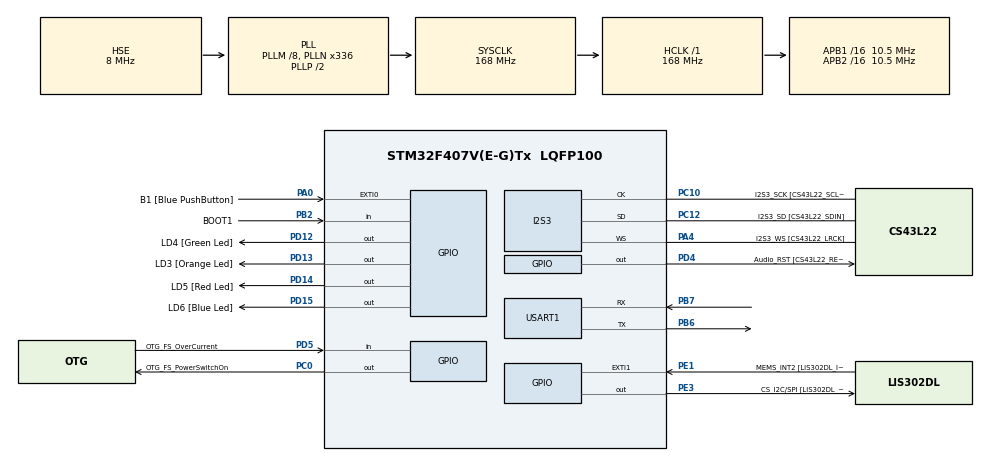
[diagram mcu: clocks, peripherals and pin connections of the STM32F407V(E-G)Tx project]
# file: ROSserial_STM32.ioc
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Dma.Request0=USART1_RX
Dma.Request1=USART1_TX
Dma.USART1_RX.0.Direction=DMA_PERIPH_TO_MEMORY
Dma.USART1_RX.0.FIFOMode=DMA_FIFOMODE_DISABLE
Dma.USART1_RX.0.Instance=DMA2_Stream2
Dma.USART1_RX.0.MemDataAlignment=DMA_MDATAALIGN_BYTE
Dma.USART1_RX.0.MemInc=DMA_MINC_ENABLE
Dma.USART1_RX.0.Mode=DMA_NORMAL
Dma.USART1_RX.0.PeriphDataAlignment=DMA_PDATAALIGN_BYTE
Dma.USART1_RX.0.PeriphInc=DMA_PINC_DISABLE
Dma.USART1_RX.0.Priority=DMA_PRIORITY_HIGH
Dma.USART1_TX.1.Direction=DMA_MEMORY_TO_PERIPH
Dma.USART1_TX.1.FIFOMode=DMA_FIFOMODE_DISABLE
Dma.USART1_TX.1.Instance=DMA2_Stream7
Dma.USART1_TX.1.MemDataAlignment=DMA_MDATAALIGN_BYTE
Dma.USART1_TX.1.MemInc=DMA_MINC_ENABLE
Dma.USART1_TX.1.Mode=DMA_NORMAL
Dma.USART1_TX.1.PeriphDataAlignment=DMA_PDATAALIGN_BYTE
Dma.USART1_TX.1.PeriphInc=DMA_PINC_DISABLE
Dma.USART1_TX.1.Priority=DMA_PRIORITY_HIGH
I2S3.ErrorAudioFreq=0.0 %
I2S3.FullDuplexMode=I2S_FULLDUPLEXMODE_DISABLE
I2S3.Instance=SPI$Index
I2S3.RealAudioFreq=8.0 KHz
I2S3.VirtualMode=I2S_MODE_MASTER
Mcu.Family=STM32F4
Mcu.Name=STM32F407V(E-G)Tx
Mcu.Package=LQFP100
NVIC.DMA2_Stream2_IRQn=true\:0\:0\:false\:false\:true\:false\:true
NVIC.DMA2_Stream7_IRQn=true\:0\:0\:false\:false\:true\:false\:true
NVIC.PriorityGroup=NVIC_PRIORITYGROUP_0
NVIC.TIM8_TRG_COM_TIM14_IRQn=true\:0\:0\:false\:false\:true\:true\:true
NVIC.USART1_IRQn=true\:0\:0\:false\:false\:true\:true\:true
PA0-WKUP.GPIO_Label=B1 [Blue PushButton]
PA0-WKUP.GPIO_ModeDefaultEXTI=GPIO_MODE_EVT_RISING
PA0-WKUP.GPIO_PuPd=GPIO_NOPULL
PA0-WKUP.Signal=GPXTI0
PA13.GPIO_Label=SWDIO
PA13.Mode=Serial_Wire
PA13.Signal=SYS_JTMS-SWDIO
PA14.GPIO_Label=SWCLK
PA14.Mode=Serial_Wire
PA14.Signal=SYS_JTCK-SWCLK
PA4.GPIO_Label=I2S3_WS [CS43L22_LRCK]
PA4.GPIO_Mode=GPIO_MODE_AF_PP
PA4.GPIO_PuPd=GPIO_NOPULL
PA4.GPIO_Speed=GPIO_SPEED_FREQ_LOW
PA4.Mode=Half_Duplex_Master
PA4.Signal=I2S3_WS
PB2.GPIO_Label=BOOT1
PB2.GPIO_Mode=GPIO_MODE_INPUT
PB2.GPIO_PuPd=GPIO_NOPULL
PB2.Signal=GPIO_Input
PB3.GPIO_Label=SWO
PB3.Signal=SYS_JTDO-SWO
PB6.Mode=Asynchronous
PB6.Signal=USART1_TX
PB7.Mode=Asynchronous
PB7.Signal=USART1_RX
PC0.GPIO_Label=OTG_FS_PowerSwitchOn
PC0.GPIO_PuPd=GPIO_NOPULL
PC0.GPIO_Speed=GPIO_SPEED_FREQ_LOW
PC0.PinState=GPIO_PIN_SET
PC0.Signal=GPIO_Output
PC10.GPIO_Label=I2S3_SCK [CS43L22_SCLK]
PC10.GPIO_Mode=GPIO_MODE_AF_PP
PC10.GPIO_PuPd=GPIO_NOPULL
PC10.GPIO_Speed=GPIO_SPEED_FREQ_LOW
PC10.Mode=Half_Duplex_Master
PC10.Signal=I2S3_CK
PC12.GPIO_Label=I2S3_SD [CS43L22_SDIN]
PC12.GPIO_Mode=GPIO_MODE_AF_PP
PC12.GPIO_PuPd=GPIO_NOPULL
PC12.GPIO_Speed=GPIO_SPEED_FREQ_LOW
PC12.Mode=Half_Duplex_Master
PC12.Signal=I2S3_SD
PC14-OSC32_IN.GPIO_Label=PC14-OSC32_IN
PC14-OSC32_IN.Mode=LSE-External-Oscillator
PC14-OSC32_IN.Signal=RCC_OSC32_IN
PC15-OSC32_OUT.GPIO_Label=PC15-OSC32_OUT
PC15-OSC32_OUT.Mode=LSE-External-Oscillator
PC15-OSC32_OUT.Signal=RCC_OSC32_OUT
PD12.GPIO_Label=LD4 [Green Led]
PD12.GPIO_PuPd=GPIO_NOPULL
PD12.GPIO_Speed=GPIO_SPEED_FREQ_LOW
PD12.Signal=GPIO_Output
PD13.GPIO_Label=LD3 [Orange Led]
PD13.GPIO_PuPd=GPIO_NOPULL
PD13.GPIO_Speed=GPIO_SPEED_FREQ_LOW
PD13.Signal=GPIO_Output
PD14.GPIO_Label=LD5 [Red Led]
PD14.GPIO_PuPd=GPIO_NOPULL
PD14.GPIO_Speed=GPIO_SPEED_FREQ_LOW
PD14.Signal=GPIO_Output
PD15.GPIO_Label=LD6 [Blue Led]
PD15.GPIO_PuPd=GPIO_NOPULL
PD15.GPIO_Speed=GPIO_SPEED_FREQ_LOW
PD15.Signal=GPIO_Output
PD4.GPIO_Label=Audio_RST [CS43L22_RESET]
PD4.GPIO_PuPd=GPIO_NOPULL
PD4.GPIO_Speed=GPIO_SPEED_FREQ_LOW
PD4.Signal=GPIO_Output
PD5.GPIO_Label=OTG_FS_OverCurrent
PD5.GPIO_Mode=GPIO_MODE_INPUT
PD5.GPIO_PuPd=GPIO_NOPULL
PD5.Signal=GPIO_Input
PE1.GPIO_Label=MEMS_INT2 [LIS302DL_INT2]
PE1.GPIO_ModeDefaultEXTI=GPIO_MODE_EVT_RISING
PE1.GPIO_PuPd=GPIO_NOPULL
PE1.Signal=GPXTI1
PE3.GPIO_Label=CS_I2C/SPI [LIS302DL_CS_I2C/SPI]
PE3.GPIO_PuPd=GPIO_NOPULL
PE3.GPIO_Speed=GPIO_SPEED_FREQ_LOW
PE3.Signal=GPIO_Output
PH0-OSC_IN.GPIO_Label=PH0-OSC_IN
PH0-OSC_IN.Mode=HSE-External-Oscillator
PH0-OSC_IN.Signal=RCC_OSC_IN
PH1-OSC_OUT.GPIO_Label=PH1-OSC_OUT
PH1-OSC_OUT.Mode=HSE-External-Oscillator
PH1-OSC_OUT.Signal=RCC_OSC_OUT
ProjectManager.HeapSize=0x200
ProjectManager.StackSize=0x400
ProjectManager.TargetToolchain=STM32CubeIDE
RCC.48MHZClocksFreq_Value=48000000
RCC.AHBFreq_Value=168000000
RCC.APB1CLKDivider=RCC_HCLK_DIV16
RCC.APB1Freq_Value=10500000
RCC.APB1TimFreq_Value=21000000
RCC.APB2CLKDivider=RCC_HCLK_DIV16
RCC.APB2Freq_Value=10500000
RCC.APB2TimFreq_Value=21000000
RCC.CortexFreq_Value=168000000
RCC.HCLKFreq_Value=168000000
RCC.HSE_VALUE=8000000
RCC.HSI_VALUE=16000000
RCC.PLLM=8
RCC.PLLN=336
RCC.PLLQ=7
RCC.PLLSourceVirtual=RCC_PLLSOURCE_HSE
RCC.SYSCLKFreq_VALUE=168000000
RCC.SYSCLKSource=RCC_SYSCLKSOURCE_PLLCLK
RCC.VCOOutputFreq_Value=336000000
TIM14.AutoReloadPreload=TIM_AUTORELOAD_PRELOAD_DISABLE
TIM14.Period=1
TIM14.Prescaler=20999
USART1.VirtualMode=VM_ASYNC
VP_TIM14_VS_ClockSourceINT.Mode=Enable_Timer
board=STM32F407G-DISC1

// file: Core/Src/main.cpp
/* USER CODE BEGIN Header */
/**
  ******************************************************************************
  * @file           : main.c
  * @brief          : Main program body
  ******************************************************************************
  * @attention
  *
  * <h2><center>&copy; Copyright (c) 2020 STMicroelectronics.
  * All rights reserved.</center></h2>
  *
  * This software component is licensed by ST under Ultimate Liberty license
  * SLA0044, the "License"; You may not use this file except in compliance with
  * the License. You may obtain a copy of the License at:
  *                             www.st.com/SLA0044
  *
  ******************************************************************************
  */
/* USER CODE END Header */

#include "main.h"
#include "ROS/ros.h"
#include "ROS/std_msgs/Float32Array.h"

/* USER CODE BEGIN PTD */
#define SIZE_DATATOSEND 4
/* USER CODE END PTD */

/* USER CODE BEGIN PM */
ros::NodeHandle rosc;
std_msgs::Float32 VAng_Data;
ros::Publisher pub_VAng( "VAng_Data", &VAng_Data);
/* USER CODE END PM */

I2S_HandleTypeDef hi2s3;

TIM_HandleTypeDef htim14;

UART_HandleTypeDef huart1;
DMA_HandleTypeDef hdma_usart1_rx;
DMA_HandleTypeDef hdma_usart1_tx;

/* USER CODE BEGIN PV */
uint8_t ROS_Configuration_Done = 0;

uint8_t USART_RxBuffer[MAX_BUFFER_RX_USART] = {0};
uint8_t bufferIndex[MAX_BUFFER_RX_USART] = {0};
uint8_t currentUsartMessages = 0;
uint8_t smallestIndex;
uint8_t smallest;

/* USER CODE END PV */

void SystemClock_Config(void);
static void MX_GPIO_Init(void);
static void MX_DMA_Init(void);
static void MX_I2S3_Init(void);
static void MX_TIM14_Init(void);
static void MX_USART1_UART_Init(void);
/* USER CODE BEGIN PFP */
float DataToSend[SIZE_DATATOSEND];
void ROS_RxMessage();
/* USER CODE END PFP */

int main(void)
{

  /* MCU Configuration--------------------------------------------------------*/

  /* Reset of all peripherals, Initializes the Flash interface and the Systick. */
  HAL_Init();

  /* Configure the system clock */
  SystemClock_Config();

  /* Initialize all configured peripherals */
  MX_GPIO_Init();
  MX_DMA_Init();
  MX_I2S3_Init();
  MX_TIM14_Init();
  MX_USART1_UART_Init();
  rosc.initNode();
  rosc.advertise(pub_VAng);

  /* Infinite loop */
  /* USER CODE BEGIN WHILE */
  while (1)
  {

	 // uart
	 /*
	  * Come funziona questo sistema?
	  *
	  *
	  *
	  */

	 VAng_Data.V_Ang_RF_AD = 23.4;
	 VAng_Data.V_Ang_RF_AS = 34.56;
	 VAng_Data.V_Ang_RF_PD = 56.76;
	 VAng_Data.V_Ang_RF_PS = 78.9;
	 pub_VAng.publish(&VAng_Data);

	 // find index i
	 if(currentUsartMessages != 0)
	 uint8_t smallestIndex = 0;
	 uint8_t smallest = 255;
	 for(uint8_t i = 0; i < MAX_BUFFER_RX_USART; i++) {
		if(bufferIndex[i] != 0) {
			if(bufferIndex[i] < smallest) {
				smallest = bufferIndex[i];
				smallestIndex = i;
			}
		}
	 }

	 if(smallest != 255) { //UART Messagge found
		 // read UART MSG
		 rosc.spinOnce(USART_RxBuffer[smallestIndex]);
		 for(uint8_t i = 0; i < MAX_BUFFER_RX_USART; i++)
			 if(bufferIndex[i] != 0)
				 bufferIndex[i]--;
		 currentUsartMessages--;
	 }

    /* USER CODE END WHILE */

  }
}

void ROS_RxMessage() {

}
void SystemClock_Config(void)
{
  RCC_OscInitTypeDef RCC_OscInitStruct = {0};
  RCC_ClkInitTypeDef RCC_ClkInitStruct = {0};
  RCC_PeriphCLKInitTypeDef PeriphClkInitStruct = {0};

  /** Configure the main internal regulator output voltage
  */
  __HAL_RCC_PWR_CLK_ENABLE();
  __HAL_PWR_VOLTAGESCALING_CONFIG(PWR_REGULATOR_VOLTAGE_SCALE1);
  /** Initializes the CPU, AHB and APB busses clocks
  */
  RCC_OscInitStruct.OscillatorType = RCC_OSCILLATORTYPE_HSE;
  RCC_OscInitStruct.HSEState = RCC_HSE_ON;
  RCC_OscInitStruct.PLL.PLLState = RCC_PLL_ON;
  RCC_OscInitStruct.PLL.PLLSource = RCC_PLLSOURCE_HSE;
  RCC_OscInitStruct.PLL.PLLM = 8;
  RCC_OscInitStruct.PLL.PLLN = 336;
  RCC_OscInitStruct.PLL.PLLP = RCC_PLLP_DIV2;
  RCC_OscInitStruct.PLL.PLLQ = 7;
  if (HAL_RCC_OscConfig(&RCC_OscInitStruct) != HAL_OK)
  {
    Error_Handler();
  }
  /** Initializes the CPU, AHB and APB busses clocks
  */
  RCC_ClkInitStruct.ClockType = RCC_CLOCKTYPE_HCLK|RCC_CLOCKTYPE_SYSCLK
                              |RCC_CLOCKTYPE_PCLK1|RCC_CLOCKTYPE_PCLK2;
  RCC_ClkInitStruct.SYSCLKSource = RCC_SYSCLKSOURCE_PLLCLK;
  RCC_ClkInitStruct.AHBCLKDivider = RCC_SYSCLK_DIV1;
  RCC_ClkInitStruct.APB1CLKDivider = RCC_HCLK_DIV16;
  RCC_ClkInitStruct.APB2CLKDivider = RCC_HCLK_DIV16;

  if (HAL_RCC_ClockConfig(&RCC_ClkInitStruct, FLASH_LATENCY_5) != HAL_OK)
  {
    Error_Handler();
  }
  PeriphClkInitStruct.PeriphClockSelection = RCC_PERIPHCLK_I2S;
  PeriphClkInitStruct.PLLI2S.PLLI2SN = 192;
  PeriphClkInitStruct.PLLI2S.PLLI2SR = 2;
  if (HAL_RCCEx_PeriphCLKConfig(&PeriphClkInitStruct) != HAL_OK)
  {
    Error_Handler();
  }
}

static void MX_I2S3_Init(void)
{

  hi2s3.Instance = SPI3;
  hi2s3.Init.Mode = I2S_MODE_MASTER_TX;
  hi2s3.Init.Standard = I2S_STANDARD_PHILIPS;
  hi2s3.Init.DataFormat = I2S_DATAFORMAT_16B;
  hi2s3.Init.MCLKOutput = I2S_MCLKOUTPUT_DISABLE;
  hi2s3.Init.AudioFreq = I2S_AUDIOFREQ_8K;
  hi2s3.Init.CPOL = I2S_CPOL_LOW;
  hi2s3.Init.ClockSource = I2S_CLOCK_PLL;
  hi2s3.Init.FullDuplexMode = I2S_FULLDUPLEXMODE_DISABLE;
  if (HAL_I2S_Init(&hi2s3) != HAL_OK)
  {
    Error_Handler();
  }

}

static void MX_TIM14_Init(void)
{

  htim14.Instance = TIM14;
  htim14.Init.Prescaler = 20999;
  htim14.Init.CounterMode = TIM_COUNTERMODE_UP;
  htim14.Init.Period = 1;
  htim14.Init.ClockDivision = TIM_CLOCKDIVISION_DIV1;
  htim14.Init.AutoReloadPreload = TIM_AUTORELOAD_PRELOAD_DISABLE;
  if (HAL_TIM_Base_Init(&htim14) != HAL_OK)
  {
    Error_Handler();
  }
  /* USER CODE BEGIN TIM14_Init 2 */
  if (HAL_TIM_Base_Start_IT(&htim14) != HAL_OK)
	{
	  Error_Handler();
	}
  /* USER CODE END TIM14_Init 2 */

}

static void MX_USART1_UART_Init(void)
{

  huart1.Instance = USART1;
  huart1.Init.BaudRate = 115200;
  huart1.Init.WordLength = UART_WORDLENGTH_8B;
  huart1.Init.StopBits = UART_STOPBITS_1;
  huart1.Init.Parity = UART_PARITY_NONE;
  huart1.Init.Mode = UART_MODE_TX_RX;
  huart1.Init.HwFlowCtl = UART_HWCONTROL_NONE;
  huart1.Init.OverSampling = UART_OVERSAMPLING_16;
  if (HAL_UART_Init(&huart1) != HAL_OK)
  {
    Error_Handler();
  }
  /* USER CODE BEGIN USART1_Init 2 */
  HAL_UART_Receive_IT(&huart1, &(USART_RxBuffer[0]), 8);
  /* USER CODE END USART1_Init 2 */

}

static void MX_DMA_Init(void)
{

  /* DMA controller clock enable */
  __HAL_RCC_DMA2_CLK_ENABLE();

  /* DMA interrupt init */
  /* DMA2_Stream2_IRQn interrupt configuration */
  HAL_NVIC_SetPriority(DMA2_Stream2_IRQn, 0, 0);
  HAL_NVIC_EnableIRQ(DMA2_Stream2_IRQn);
  /* DMA2_Stream7_IRQn interrupt configuration */
  HAL_NVIC_SetPriority(DMA2_Stream7_IRQn, 0, 0);
  HAL_NVIC_EnableIRQ(DMA2_Stream7_IRQn);

}

static void MX_GPIO_Init(void)
{
  GPIO_InitTypeDef GPIO_InitStruct = {0};

  /* GPIO Ports Clock Enable */
  __HAL_RCC_GPIOE_CLK_ENABLE();
  __HAL_RCC_GPIOC_CLK_ENABLE();
  __HAL_RCC_GPIOH_CLK_ENABLE();
  __HAL_RCC_GPIOA_CLK_ENABLE();
  __HAL_RCC_GPIOB_CLK_ENABLE();
  __HAL_RCC_GPIOD_CLK_ENABLE();

  /*Configure GPIO pin Output Level */
  HAL_GPIO_WritePin(CS_I2C_SPI_GPIO_Port, CS_I2C_SPI_Pin, GPIO_PIN_RESET);

  /*Configure GPIO pin Output Level */
  HAL_GPIO_WritePin(OTG_FS_PowerSwitchOn_GPIO_Port, OTG_FS_PowerSwitchOn_Pin, GPIO_PIN_SET);

  /*Configure GPIO pin Output Level */
  HAL_GPIO_WritePin(GPIOD, LD4_Pin|LD3_Pin|LD5_Pin|LD6_Pin
                          |Audio_RST_Pin, GPIO_PIN_RESET);

  /*Configure GPIO pin : CS_I2C_SPI_Pin */
  GPIO_InitStruct.Pin = CS_I2C_SPI_Pin;
  GPIO_InitStruct.Mode = GPIO_MODE_OUTPUT_PP;
  GPIO_InitStruct.Pull = GPIO_NOPULL;
  GPIO_InitStruct.Speed = GPIO_SPEED_FREQ_LOW;
  HAL_GPIO_Init(CS_I2C_SPI_GPIO_Port, &GPIO_InitStruct);

  /*Configure GPIO pin : OTG_FS_PowerSwitchOn_Pin */
  GPIO_InitStruct.Pin = OTG_FS_PowerSwitchOn_Pin;
  GPIO_InitStruct.Mode = GPIO_MODE_OUTPUT_PP;
  GPIO_InitStruct.Pull = GPIO_NOPULL;
  GPIO_InitStruct.Speed = GPIO_SPEED_FREQ_LOW;
  HAL_GPIO_Init(OTG_FS_PowerSwitchOn_GPIO_Port, &GPIO_InitStruct);

  /*Configure GPIO pin : B1_Pin */
  GPIO_InitStruct.Pin = B1_Pin;
  GPIO_InitStruct.Mode = GPIO_MODE_EVT_RISING;
  GPIO_InitStruct.Pull = GPIO_NOPULL;
  HAL_GPIO_Init(B1_GPIO_Port, &GPIO_InitStruct);

  /*Configure GPIO pin : BOOT1_Pin */
  GPIO_InitStruct.Pin = BOOT1_Pin;
  GPIO_InitStruct.Mode = GPIO_MODE_INPUT;
  GPIO_InitStruct.Pull = GPIO_NOPULL;
  HAL_GPIO_Init(BOOT1_GPIO_Port, &GPIO_InitStruct);

  /*Configure GPIO pins : LD4_Pin LD3_Pin LD5_Pin LD6_Pin
                           Audio_RST_Pin */
  GPIO_InitStruct.Pin = LD4_Pin|LD3_Pin|LD5_Pin|LD6_Pin
                          |Audio_RST_Pin;
  GPIO_InitStruct.Mode = GPIO_MODE_OUTPUT_PP;
  GPIO_InitStruct.Pull = GPIO_NOPULL;
  GPIO_InitStruct.Speed = GPIO_SPEED_FREQ_LOW;
  HAL_GPIO_Init(GPIOD, &GPIO_InitStruct);

  /*Configure GPIO pin : OTG_FS_OverCurrent_Pin */
  GPIO_InitStruct.Pin = OTG_FS_OverCurrent_Pin;
  GPIO_InitStruct.Mode = GPIO_MODE_INPUT;
  GPIO_InitStruct.Pull = GPIO_NOPULL;
  HAL_GPIO_Init(OTG_FS_OverCurrent_GPIO_Port, &GPIO_InitStruct);

  /*Configure GPIO pin : MEMS_INT2_Pin */
  GPIO_InitStruct.Pin = MEMS_INT2_Pin;
  GPIO_InitStruct.Mode = GPIO_MODE_EVT_RISING;
  GPIO_InitStruct.Pull = GPIO_NOPULL;
  HAL_GPIO_Init(MEMS_INT2_GPIO_Port, &GPIO_InitStruct);

}

void Error_Handler(void)
{
}

/************************ (C) COPYRIGHT STMicroelectronics *****END OF FILE****/
